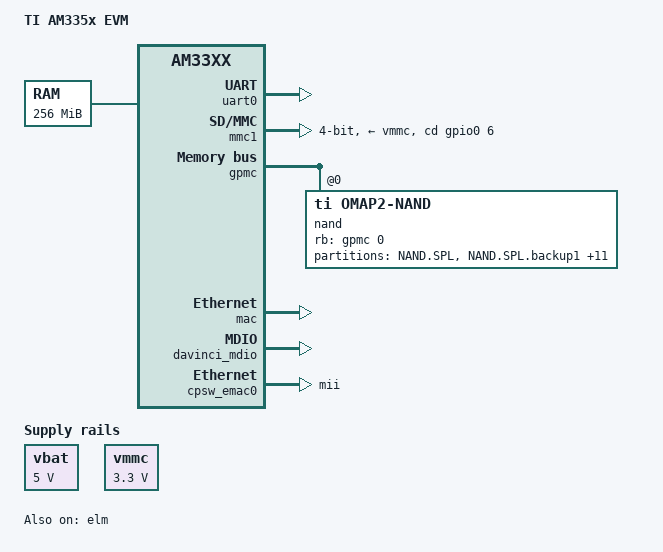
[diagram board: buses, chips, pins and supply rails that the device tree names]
/* cv_kurz.dts */

/*
 * Copyright (C) 2012 Texas Instruments Incorporated - http://www.ti.com/
 *
 * This program is free software; you can redistribute it and/or modify
 * it under the terms of the GNU General Public License version 2 as
 * published by the Free Software Foundation.
 */
/dts-v1/;

#include "am33xx.dtsi"
#include <dt-bindings/interrupt-controller/irq.h>

/ {
	model = "TI AM335x EVM";
	compatible = "cv,kurz", "ti,am33xx";

	cpus {
		cpu@0 {
			cpu0-supply = <&vdd1_reg>;
		};
	};

	memory@80000000 {
		device_type = "memory";
		reg = <0x80000000 0x10000000>; /* 256 MB */
	};

	chosen {
		stdout-path = &uart0;
	};

	vbat: fixedregulator0 {
		compatible = "regulator-fixed";
		regulator-name = "vbat";
		regulator-min-microvolt = <5000000>;
		regulator-max-microvolt = <5000000>;
		regulator-boot-on;
	};

	vmmc: fixedregulator@0 {
		compatible = "regulator-fixed";
		regulator-name = "vmmc";
		regulator-min-microvolt = <3300000>;
		regulator-max-microvolt = <3300000>;
		regulator-always-on;
	};

	vdd1_reg: regulator@0 {
		regulator-compatible = "regulator-fixed";
		regulator-name = "vdd_mpu";
		regulator-min-microvolt = <1250000>;
		regulator-max-microvolt = <1250000>;
		regulator-boot-on;
		regulator-always-on;
	};
};

/* von pin mux tool, erst einmal nur mmc0 (bzw. mmc1 bei anderer zaehlweise ;-)) und uart0: */

&am33xx_pinmux {
	mygpmc1_pins_default: mygpmc1_pins_default {
		pinctrl-single,pins = <
#if 0
			AM33XX_IOPAD(0x86c, PIN_OUTPUT | MUX_MODE0) /* (V17) gpmc_a11.gpmc_a11 */
			AM33XX_IOPAD(0x868, PIN_OUTPUT | MUX_MODE0) /* (T16) gpmc_a10.gpmc_a10 */
			AM33XX_IOPAD(0x864, PIN_OUTPUT | MUX_MODE0) /* (U16) gpmc_a9.gpmc_a9 */
			AM33XX_IOPAD(0x860, PIN_OUTPUT | MUX_MODE0) /* (V16) gpmc_a8.gpmc_a8 */
			AM33XX_IOPAD(0x85c, PIN_OUTPUT | MUX_MODE0) /* (T15) gpmc_a7.gpmc_a7 */
			AM33XX_IOPAD(0x858, PIN_OUTPUT | MUX_MODE0) /* (U15) gpmc_a6.gpmc_a6 */
			AM33XX_IOPAD(0x854, PIN_OUTPUT | MUX_MODE0) /* (V15) gpmc_a5.gpmc_a5 */
			AM33XX_IOPAD(0x850, PIN_OUTPUT | MUX_MODE0) /* (R14) gpmc_a4.gpmc_a4 */
			AM33XX_IOPAD(0x84c, PIN_OUTPUT | MUX_MODE0) /* (T14) gpmc_a3.gpmc_a3 */
			AM33XX_IOPAD(0x848, PIN_OUTPUT | MUX_MODE0) /* (U14) gpmc_a2.gpmc_a2 */
			AM33XX_IOPAD(0x844, PIN_OUTPUT | MUX_MODE0) /* (V14) gpmc_a1.gpmc_a1 */
			AM33XX_IOPAD(0x840, PIN_OUTPUT | MUX_MODE0) /* (R13) gpmc_a0.gpmc_a0 */
			AM33XX_IOPAD(0x83c, PIN_INPUT_PULLUP | MUX_MODE0) /* (U13) gpmc_ad15.gpmc_ad15 */
			AM33XX_IOPAD(0x838, PIN_INPUT_PULLUP | MUX_MODE0) /* (V13) gpmc_ad14.gpmc_ad14 */
			AM33XX_IOPAD(0x834, PIN_INPUT_PULLUP | MUX_MODE0) /* (R12) gpmc_ad13.gpmc_ad13 */
			AM33XX_IOPAD(0x830, PIN_INPUT_PULLUP | MUX_MODE0) /* (T12) gpmc_ad12.gpmc_ad12 */
			AM33XX_IOPAD(0x82c, PIN_INPUT_PULLUP | MUX_MODE0) /* (U12) gpmc_ad11.gpmc_ad11 */
			AM33XX_IOPAD(0x828, PIN_INPUT_PULLUP | MUX_MODE0) /* (T11) gpmc_ad10.gpmc_ad10 */
			AM33XX_IOPAD(0x824, PIN_INPUT_PULLUP | MUX_MODE0) /* (T10) gpmc_ad9.gpmc_ad9 */
			AM33XX_IOPAD(0x820, PIN_INPUT_PULLUP | MUX_MODE0) /* (U10) gpmc_ad8.gpmc_ad8 */
			AM33XX_IOPAD(0x81c, PIN_INPUT_PULLUP | MUX_MODE0) /* (T9) gpmc_ad7.gpmc_ad7 */
			AM33XX_IOPAD(0x818, PIN_INPUT_PULLUP | MUX_MODE0) /* (R9) gpmc_ad6.gpmc_ad6 */
			AM33XX_IOPAD(0x814, PIN_INPUT_PULLUP | MUX_MODE0) /* (V8) gpmc_ad5.gpmc_ad5 */
			AM33XX_IOPAD(0x810, PIN_INPUT_PULLUP | MUX_MODE0) /* (U8) gpmc_ad4.gpmc_ad4 */
			AM33XX_IOPAD(0x80c, PIN_INPUT_PULLUP | MUX_MODE0) /* (T8) gpmc_ad3.gpmc_ad3 */
			AM33XX_IOPAD(0x808, PIN_INPUT_PULLUP | MUX_MODE0) /* (R8) gpmc_ad2.gpmc_ad2 */
			AM33XX_IOPAD(0x804, PIN_INPUT_PULLUP | MUX_MODE0) /* (V7) gpmc_ad1.gpmc_ad1 */
			AM33XX_IOPAD(0x800, PIN_INPUT_PULLUP | MUX_MODE0) /* (U7) gpmc_ad0.gpmc_ad0 */
			AM33XX_IOPAD(0x87c, PIN_OUTPUT_PULLUP | MUX_MODE0) /* (V6) gpmc_csn0.gpmc_csn0 */
			AM33XX_IOPAD(0x880, PIN_OUTPUT_PULLUP | MUX_MODE0) /* (U9) gpmc_csn1.gpmc_csn1 */
			AM33XX_IOPAD(0x888, PIN_OUTPUT_PULLUP | MUX_MODE0) /* (T13) gpmc_csn3.gpmc_csn3 */
			AM33XX_IOPAD(0x88c, PIN_INPUT_PULLUP | MUX_MODE0) /* (V12) gpmc_clk.gpmc_clk */
			AM33XX_IOPAD(0x890, PIN_OUTPUT | MUX_MODE0) /* (R7) gpmc_advn_ale.gpmc_advn_ale */
			AM33XX_IOPAD(0x894, PIN_OUTPUT | MUX_MODE0) /* (T7) gpmc_oen_ren.gpmc_oen_ren */
			AM33XX_IOPAD(0x898, PIN_OUTPUT | MUX_MODE0) /* (U6) gpmc_wen.gpmc_wen */
#else
            0x0 (PIN_INPUT_PULLUP | MUX_MODE0)  /* gpmc_ad0.gpmc_ad0 */
            0x4 (PIN_INPUT_PULLUP | MUX_MODE0)  /* gpmc_ad1.gpmc_ad1 */
            0x8 (PIN_INPUT_PULLUP | MUX_MODE0)  /* gpmc_ad2.gpmc_ad2 */
            0xc (PIN_INPUT_PULLUP | MUX_MODE0)  /* gpmc_ad3.gpmc_ad3 */
            0x10 (PIN_INPUT_PULLUP | MUX_MODE0) /* gpmc_ad4.gpmc_ad4 */
            0x14 (PIN_INPUT_PULLUP | MUX_MODE0) /* gpmc_ad5.gpmc_ad5 */
            0x18 (PIN_INPUT_PULLUP | MUX_MODE0) /* gpmc_ad6.gpmc_ad6 */
            0x1c (PIN_INPUT_PULLUP | MUX_MODE0) /* gpmc_ad7.gpmc_ad7 */

            0x20 (PIN_INPUT_PULLUP | MUX_MODE0) /* Pin 179 - U10 - GPMC_AD8 --- Modes: gpmc_ad8 | lcd_data23 | mmc1_dat0 | mmc2_dat4 | ehrpwm2A | pr1_mii_mt0_clk | - | gpio0_22 */
            0x24 (PIN_INPUT_PULLUP | MUX_MODE0) /* Pin 180 - T10 - GPMC_AD9 --- Modes: gpmc_ad9 | lcd_data22 | mmc1_dat1 | mmc2_dat5 | ehrpwm2B | pr1_mii0_col | - | gpio0_23 */
            0x28 (PIN_INPUT_PULLUP | MUX_MODE0) /* Pin 181 - T11 - GPMC_AD10 --- Modes: gpmc_ad10 | lcd_data21 | mmc1_dat2 | mmc2_dat6 | ehrpwm2_tripzone_input | pr1_mii0_txen | - | gpio0_26 */
            0x2C (PIN_INPUT_PULLUP | MUX_MODE0) /* Pin 182 - U12 - GPMC_AD11 --- Modes: gpmc_ad11 | lcd_data20 | mmc1_dat3 | mmc2_dat7 | ehrpwm0_synco | pr1_mii0_txd3 | - | gpio0_27 */
            0x30 (PIN_INPUT_PULLUP | MUX_MODE0) /* Pin 185 - T12 - GPMC_AD12 --- Modes: gpmc_ad12 | lcd_data19 | mmc1_dat4 | mmc2_dat0 | eQEP2A_in | pr1_mii0_txd2 | pr1_pru0_pru_r30_14 | gpio1_12 */
            0x34 (PIN_INPUT_PULLUP | MUX_MODE0) /* Pin 186 - R12 - GPMC_AD13 --- Modes: gpmc_ad13 | lcd_data18 | mmc1_dat5 | mmc2_dat1 | eQEP2B_in | pr1_mii0_txd1 | pr1_pru0_pru_r30_15 | gpio1_13 */
            0x38 (PIN_INPUT_PULLUP | MUX_MODE0) /* Pin 187 - V13 - GPMC_AD14 --- Modes: gpmc_ad14 | lcd_data17 | mmc1_dat6 | mmc2_dat2 | eQEP2_index | pr1_mii0_txd0 | pr1_pru0_pru_r31_14 | gpio1_14 */
            0x3C (PIN_INPUT_PULLUP | MUX_MODE0) /* Pin 188 - U13 - GPMC_AD15 --- Modes: gpmc_ad15 | lcd_data16 | mmc1_dat7 | mmc2_dat3 | eQEP2_strobe | pr1_ecap0_ecap_capin_apwm_o | pr1_pru0_pru_r31_15 | gpio1_15 */
            0x88 (PIN_OUTPUT | MUX_MODE0) /* Pin 177 - T13 - GPMC_CSn3 --- Modes: gpmc_csn3 | gpmc_a3 | rmii2_crs_dv | mmc2_cmd | pr1_mii0_crs | pr1_mdio_data | EMU4 | gpio2_0 */
            
            0x40 (PIN_OUTPUT | MUX_MODE0) /* Pin 139 - R13 - GPMC_A0 --- Modes: gpmc_a0 | gmii2_txen | rgmii2_tctl | rmii2_txen | gpmc_a16 | pr1_mii_mt1_clk | ehrpwm1_tripzone_input | gpio1_16 */
            0x44 (PIN_OUTPUT | MUX_MODE0) /* Pin 149 - V14 - GPMC_A1 --- Modes: gpmc_a1 | gmii2_rxdv | rgmii2_rctl | mmc2_dat0 | gpmc_a17 | pr1_mii1_txd3 | ehrpwm0_synco | gpio1_17 */
            0x48 (PIN_OUTPUT | MUX_MODE0) /* Pin 140 - U14 - GPMC_A2 --- Modes: gpmc_a2 | gmii2_txd3 | rgmii2_td3 | mmc2_dat1 | gpmc_a18 | pr1_mii1_txd2 | ehrpwm1A | gpio1_18 */
            0x4C (PIN_OUTPUT | MUX_MODE0) /* Pin 143 - T14 - GPMC_A3 --- Modes: gpmc_a3 | gmii2_txd2 | rgmii2_td2 | mmc2_dat2 | gpmc_a19 | pr1_mii1_txd1 | ehrpwm1B | gpio1_19 */
            0x50 (PIN_OUTPUT | MUX_MODE0) /* Pin 144 - R14 - GPMC_A4 --- Modes: gpmc_a4 | gmii2_txd1 | rgmii2_td1 | rmii2_txd1 | gpmc_a20 | pr1_mii1_txd0 | eQEP1A_in | gpio1_20 */
            0x54 (PIN_OUTPUT | MUX_MODE0) /* Pin 145 - V15 - GPMC_A5 --- Modes: gpmc_a5 | gmii2_txd0 | rgmii2_td0 | rmii2_txd0 | gpmc_a21 | pr1_mii1_rxd3 | eQEP1B_in | gpio1_21 */
            0x58 (PIN_OUTPUT | MUX_MODE0) /* Pin 146 - U15 - GPMC_A6 --- Modes: gpmc_a6 | gmii2_txclk | rgmii2_tclk | mmc2_dat4 | gpmc_a22 | pr1_mii1_rxd2 | eQEP1_index | gpio1_22 */
            0x5C (PIN_OUTPUT | MUX_MODE0) /* Pin 154 - T15 - GPMC_A7 --- Modes: gpmc_a7 | gmii2_rxclk | rgmii2_rclk | mmc2_dat5 | gpmc_a23 | pr1_mii1_rxd1 | eQEP1_strobe | gpio1_23 */
            0x60 (PIN_OUTPUT | MUX_MODE0) /* Pin 150 - V16 - GPMC_A8 --- Modes: gpmc_a8 | gmii2_rxd3 | rgmii2_rd3 | mmc2_dat6 | gpmc_a24 | pr1_mii1_rxd0 | mcasp0_aclkx | gpio1_24 */
            0x64 (PIN_OUTPUT | MUX_MODE0) /* Pin 151 - U16 - GPMC_A9 --- Modes: gpmc_a9 | gmii2_rxd2 | rgmii2_rd2 | mmc2_dat7/rmii2_crs_dv | gpmc_a25 | pr1_mii_mr1_clk | mcasp0_fsx | gpio1_25 */
            0x68 (PIN_OUTPUT | MUX_MODE0) /* Pin 152 - T16 - GPMC_A10 --- Modes: gpmc_a10 | gmii2_rxd1 | rgmii2_rd1 | rmii2_rxd1 | gpmc_a26 | pr1_mii1_rxdv | mcasp0_axr0 | gpio1_26 */
            0x6C (PIN_OUTPUT | MUX_MODE0) /* Pin 153 - V17 - GPMC_A11 --- Modes: gpmc_a11 | gmii2_rxd0 | rgmii2_rd0 | rmii2_rxd0 | gpmc_a27 | pr1_mii1_rxer | mcasp0_axr1 | gpio1_27 */
            
            0x90 (PIN_OUTPUT | MUX_MODE0) /* Pin 158 - R7 - GPMC_ADVn_ALE --- Modes: gpmc_advn_ale | - | timer4 | - | - | - | - | gpio2_2 */
            0x94 (PIN_OUTPUT | MUX_MODE0) /* Pin 161 - T7 - GPMC_OEn_REn --- Modes: gpmc_oen_ren | - | timer7 | - | - | - | - | gpio2_3 */
            0x98 (PIN_OUTPUT | MUX_MODE0) /* Pin 162 - U6 - GPMC_WEn --- Modes: gpmc_wen | - | timer6 | - | - | - | - | gpio2_4 */
            
            0x8C (PIN_INPUT_PULLUP | MUX_MODE0) /* Pin 178 - V12 - GPMC_CLK --- Modes: gpmc_clk | lcd_memory_clk | gpmc_wait1 | mmc2_clk | pr1_mii1_crs | pr1_mdio_mdclk | mcasp0_fsr | gpio2_1 */
            
#endif
          >;
	};

	mymmc1_pins_default: mymmc1_pins_default {
		pinctrl-single,pins = <
			AM33XX_IOPAD(0x900, PIN_INPUT_PULLUP | MUX_MODE0) /* (G17) mmc0_clk.mmc0_clk */
			AM33XX_IOPAD(0x904, PIN_INPUT_PULLUP | MUX_MODE0) /* (G18) mmc0_cmd.mmc0_cmd */
			AM33XX_IOPAD(0x8fc, PIN_INPUT_PULLUP | MUX_MODE0) /* (G16) mmc0_dat0.mmc0_dat0 */
			AM33XX_IOPAD(0x8f8, PIN_INPUT_PULLUP | MUX_MODE0) /* (G15) mmc0_dat1.mmc0_dat1 */
			AM33XX_IOPAD(0x8f4, PIN_INPUT_PULLUP | MUX_MODE0) /* (F18) mmc0_dat2.mmc0_dat2 */
			AM33XX_IOPAD(0x8f0, PIN_INPUT_PULLUP | MUX_MODE0) /* (F17) mmc0_dat3.mmc0_dat3 */
		>;
	};

	/* /\* Optional sleep pin settings. Must manually enter values in the below skeleton. *\/ */
	/* mymmc1_pins_sleep: mymmc1_pins_sleep { */
	/* 	pinctrl-single,pins = < */
	/* 		AM33XX_IOPAD(0x900,  ) /\* (G17) mmc0_clk.mmc0_clk *\/ */
	/* 		AM33XX_IOPAD(0x904,  ) /\* (G18) mmc0_cmd.mmc0_cmd *\/ */
	/* 		AM33XX_IOPAD(0x8fc,  ) /\* (G16) mmc0_dat0.mmc0_dat0 *\/ */
	/* 		AM33XX_IOPAD(0x8f8,  ) /\* (G15) mmc0_dat1.mmc0_dat1 *\/ */
	/* 		AM33XX_IOPAD(0x8f4,  ) /\* (F18) mmc0_dat2.mmc0_dat2 *\/ */
	/* 		AM33XX_IOPAD(0x8f0,  ) /\* (F17) mmc0_dat3.mmc0_dat3 *\/ */
	/* 	>; */
	/* }; */

	myuart0_pins_default: myuart0_pins_default {
		pinctrl-single,pins = <
			AM33XX_IOPAD(0x970, PIN_INPUT | MUX_MODE0) /* (E15) uart0_rxd.uart0_rxd */
			AM33XX_IOPAD(0x974, PIN_OUTPUT | MUX_MODE0) /* (E16) uart0_txd.uart0_txd */
			AM33XX_IOPAD(0x968, PIN_INPUT | MUX_MODE0) /* (E18) uart0_ctsn.uart0_ctsn */
			AM33XX_IOPAD(0x96c, PIN_OUTPUT | MUX_MODE0) /* (E17) uart0_rtsn.uart0_rtsn */
		>;
	};

	/* /\* Optional sleep pin settings. Must manually enter values in the below skeleton. *\/ */
	/* myuart0_pins_sleep: myuart0_pins_sleep { */
	/* 	pinctrl-single,pins = < */
	/* 		AM33XX_IOPAD(0x970,  ) /\* (E15) uart0_rxd.uart0_rxd *\/ */
	/* 		AM33XX_IOPAD(0x974,  ) /\* (E16) uart0_txd.uart0_txd *\/ */
	/* 		AM33XX_IOPAD(0x968,  ) /\* (E18) uart0_ctsn.uart0_ctsn *\/ */
	/* 		AM33XX_IOPAD(0x96c,  ) /\* (E17) uart0_rtsn.uart0_rtsn *\/ */
	/* 	>; */
	/* }; */

	cpsw_default: cpsw_default {
		pinctrl-single,pins = <
			/* Slave 1 PHY0 TLK105 */
			0x118 (PIN_INPUT_PULLDOWN | MUX_MODE0) /* Pin 115 - J17 - MII1_RX_DV --- Modes: gmii1_rxdv | lcd_memory_clk | rgmii1_rctl | uart5_txd | mcasp1_aclkx | mmc2_dat0 | mcasp0_aclkr | gpio3_4 */
            0x114 (PIN_OUTPUT_PULLDOWN | MUX_MODE0) /* Pin 109 - J16 - MII1_TX_EN --- Modes: gmii1_txen | rmii1_txen | rgmii1_tctl | timer4 | mcasp1_axr0 | eQEP0_index | mmc2_cmd | gpio3_3 */
            0x110 (PIN_INPUT_PULLDOWN | MUX_MODE0) /* Pin 108 - J15 - MII1_RX_ER --- Modes: gmii1_rxerr | rmii1_rxerr | spi1_d1 | I2C1_SCL | mcasp1_fsx | uart5_rtsn | uart2_txd | gpio3_2 */
			0x11C (PIN_OUTPUT_PULLDOWN | MUX_MODE0) /* Pin 110 - J18 - MII1_TXD3 --- Modes: gmii1_txd3 | dcan0_tx | rgmii1_td3 | uart4_rxd | mcasp1_fsx | mmc2_dat1 | mcasp0_fsr | gpio0_16 */
			0x120 (PIN_OUTPUT_PULLDOWN | MUX_MODE0) /* Pin 111 - K15 - MII1_TXD2 --- Modes: gmii1_txd2 | dcan0_rx | rgmii1_td2 | uart4_txd | mcasp1_axr0 | mmc2_dat2 | mcasp0_ahclkx | gpio0_17 */
			0x124 (PIN_OUTPUT_PULLDOWN | MUX_MODE0) /* Pin 112 - K16 - MII1_TXD1 --- Modes: gmii1_txd1 | rmii1_txd1 | rgmii1_td1 | mcasp1_fsr | mcasp1_axr1 | eQEP0A_in | mmc1_cmd | gpio0_21 */
			0x128 (PIN_OUTPUT_PULLDOWN | MUX_MODE0) /* Pin 113 - K17 - MII1_TXD0 --- Modes: gmii1_txd0 | rmii1_txd0 | rgmii1_td0 | mcasp1_axr2 | mcasp1_aclkr | eQEP0B_in | mmc1_clk | gpio0_28 */
			0x12C (PIN_INPUT_PULLDOWN | MUX_MODE0) /* Pin 114 - K18 - MII1_TX_CLK --- Modes: gmii1_txclk | uart2_rxd | rgmii1_tclk | mmc0_dat7 | mmc1_dat0 | uart1_dcdn | mcasp0_aclkx | gpio3_9 */
			0x130 (PIN_INPUT_PULLDOWN | MUX_MODE0) /* Pin 122 - L18 - MII1_RX_CLK --- Modes: gmii1_rxclk | uart2_txd | rgmii1_rclk | mmc0_dat6 | mmc1_dat1 | uart1_dsrn | mcasp0_fsx | gpio3_10 */
            0x134 (PIN_INPUT_PULLDOWN | MUX_MODE0) /* Pin 116 - L17 - MII1_RXD3 --- Modes: gmii1_rxd3 | uart3_rxd | rgmii1_rd3 | mmc0_dat5 | mmc1_dat2 | uart1_dtrn | mcasp0_axr0 | gpio2_18 */
            0x138 (PIN_INPUT_PULLDOWN | MUX_MODE0) /* Pin 119 - L16 - MII1_RXD2 --- Modes: gmii1_rxd2 | uart3_txd | rgmii1_rd2 | mmc0_dat4 | mmc1_dat3 | uart1_rin | mcasp0_axr1 | gpio2_19 */
            0x13C (PIN_INPUT_PULLDOWN | MUX_MODE0) /* Pin 120 - L15 - MII1_RXD1 --- Modes: gmii1_rxd1 | rmii1_rxd1 | rgmii1_rd1 | mcasp1_axr3 | mcasp1_fsr | eQEP0_strobe | mmc2_clk | gpio2_20 */
			0x140 (PIN_INPUT_PULLDOWN | MUX_MODE0) /* Pin 121 - M16 - MII1_RXD0 --- Modes: gmii1_rxd0 | rmii1_rxd0 | rgmii1_rd0 | mcasp1_ahclkx | mcasp1_ahclkr | mcasp1_aclkr | mcasp0_axr3 | gpio2_21 */
			

#if 0
			/* Slave 2 PHY1 KSZ9031 */
			0x40 (PIN_OUTPUT_PULLDOWN | MUX_MODE2) /* gpmc_a0.rgmii2_tctl */
			0x44 (PIN_INPUT_PULLDOWN | MUX_MODE2)  /* gpmc_a1.rgmii2_rctl */
			0x48 (PIN_OUTPUT_PULLDOWN | MUX_MODE2) /* gpmc_a2.rgmii2_td3 */
			0x4C (PIN_OUTPUT_PULLDOWN | MUX_MODE2) /* gpmc_a3.rgmii2_td2 */
			0x50 (PIN_OUTPUT_PULLDOWN | MUX_MODE2) /* gpmc_a4.rgmii2_td1 */
			0x54 (PIN_OUTPUT_PULLDOWN | MUX_MODE2) /* gpmc_a5.rgmii2_td0 */
			0x58 (PIN_OUTPUT_PULLDOWN | MUX_MODE2) /* gpmc_a6.rgmii2_tclk */
			0x5C (PIN_INPUT_PULLDOWN | MUX_MODE2)  /* gpmc_a7.rgmii2_rclk */
			0x60 (PIN_INPUT_PULLDOWN | MUX_MODE2)  /* gpmc_a8.rgmii2_rd3 */
			0x64 (PIN_INPUT_PULLDOWN | MUX_MODE2)  /* gpmc_a9.rgmii2_rd2 */
			0x68 (PIN_INPUT_PULLDOWN | MUX_MODE2)  /* gpmc_a10.rgmii2_rd1 */
			0x6C (PIN_INPUT_PULLDOWN | MUX_MODE2)  /* gpmc_a11.rgmii2_rd0 */
#endif
		>;
	};
	davinci_mdio_default: davinci_mdio_default {
		pinctrl-single,pins = <
			/* MDIO */
			0x148 (PIN_INPUT_PULLUP | SLEWCTRL_FAST | MUX_MODE0) /* Pin 123 - M17 - MDIO --- Modes: mdio_data | timer6 | uart5_rxd | uart3_ctsn | mmc0_sdcd | mmc1_cmd | mmc2_cmd | gpio0_0 */
            0x14C (PIN_OUTPUT_PULLUP | MUX_MODE0) /* Pin 124 - M18 - MDC --- Modes: mdio_clk | timer5 | uart5_txd | uart3_rtsn | mmc0_sdwp | mmc1_clk | mmc2_clk | gpio0_1 */
		>;
	};

};

&uart0 {
	pinctrl-names = "default";
	pinctrl-0 = <&myuart0_pins_default>;

	status = "okay";
};


&mmc1 {
	status = "okay";
	vmmc-supply = <&vmmc>;
	bus-width = <4>;
	pinctrl-names = "default";
	pinctrl-0 = <&mymmc1_pins_default>;
#if 0
	cd-gpios = <&gpio0 6 GPIO_ACTIVE_LOW>;
#else
	cd-gpios = <&gpio0 6 GPIO_ACTIVE_HIGH>; /* so von kurz */
#endif
};

&elm {
	status = "okay";
};

// siehe: /Documentation/devicetree/bindings/mtd/gpmc-nand.txt
&gpmc {
	status = "okay";
	pinctrl-names = "default";
	pinctrl-0 = <&mygpmc1_pins_default>;
	/* ranges = < */
	/* 0 0 0x08000000 0x20000000 /\* CS0: NAND *\/ */
	/* /\* 1 0 0x17000000 0x1000 /\\* CS1: CF-Card *\\/ *\/ */
	/*   3 0 0x28000000 0x02000000 /\* CS3: FPGA*\/ /\* TODO job-api anpassen auf neue fpga-adressbasis 0x28000000 statt bisher 0x18000000 *\/ */
	/* >; */
#if 0
	ranges = <0 0 0x08000000 0x20000000>; /* CS0: NAND */
#else
	ranges = <0 0 0x08000000 0x1000000>; /* CS0: NAND */
#endif
	
	#address-cells = <2>; 
	#size-cells = <1>; 

	nand@0,0 {
		compatible = "ti,omap2-nand";
		reg = <0 0 4>; /* CS0, offset 0 */
		ti,nand-ecc-opt = "bch8";
		ti,elm-id = <&elm>;
 		rb-gpios = <&gpmc 0 GPIO_ACTIVE_HIGH>; /* gpmc_wait0 */

		nand-bus-width = <8>;
		gpmc,device-width = <1>;
		gpmc,sync-clk-ps = <0>;
		gpmc,cs-on-ns = <0>;
		gpmc,cs-rd-off-ns = <44>;
		gpmc,cs-wr-off-ns = <44>;
		gpmc,adv-on-ns = <6>;
		gpmc,adv-rd-off-ns = <34>;
		gpmc,adv-wr-off-ns = <44>;
		gpmc,we-on-ns = <0>;
		gpmc,we-off-ns = <40>;
		gpmc,oe-on-ns = <0>;
		gpmc,oe-off-ns = <54>;
		gpmc,access-ns = <64>;
		gpmc,rd-cycle-ns = <82>;
		gpmc,wr-cycle-ns = <82>;
		gpmc,wait-on-read = "true";
		gpmc,wait-on-write = "true";
		gpmc,bus-turnaround-ns = <0>;
		gpmc,cycle2cycle-delay-ns = <0>;
		gpmc,clk-activation-ns = <0>;
		gpmc,wait-monitoring-ns = <0>;
		gpmc,wr-access-ns = <40>;
		gpmc,wr-data-mux-bus-ns = <0>;

		// TODO begin neu
		partitions {
			compatible = "fixed-partitions";
		// TODO end neu
		/* MTD partition table */
		/* All SPL-* partitions are sized to minimal length
		* which can be independently programmable. For
		* NAND flash this is equal to size of erase-block */
		#address-cells = <1>;
		#size-cells = <1>;
		partition@0 {
			label = "NAND.SPL";
			reg = <0x00000000 0x00020000>;
		};
		partition@1 {
			label = "NAND.SPL.backup1";
			reg = <0x00020000 0x00020000>;
		};
		partition@2 {
			label = "NAND.SPL.backup2";
			reg = <0x00040000 0x00020000>;
		};
		partition@3 {
			label = "NAND.SPL.backup3";
			reg = <0x00060000 0x00020000>;
		};
		partition@4 {
			label = "NAND.u-boot-spl-os";
			reg = <0x00080000 0x00040000>;
		};
		partition@5 {
			label = "NAND.u-boot";
			reg = <0x000C0000 0x00100000>;
		};
		partition@6 {
			label = "NAND.u-boot-env";
			reg = <0x001C0000 0x00020000>;
		};
		partition@7 {
			label = "NAND.u-boot-env.backup1";
			reg = <0x001E0000 0x00020000>;
		};
		partition@8 {
			label = "NAND.kernel";
			reg = <0x00200000 0x00800000>;
		};
		partition@9 {
			label = "NAND.kparams";
			reg = <0x00a00000 0x00040000>;
		};
		partition@10 {
			label = "NAND.rootfs1";
			reg = <0x00A40000 0x4000000>;
		};
		partition@11 {
			label = "NAND.rootfs2";
			reg = <0x04a40000 0x4000000>;
		};
		partition@12 {
			label = "NAND.data";
			reg = <0x08a40000 0x175C0000>;
		};
		// TODO begin neu
		}; // partitions
		// TODO end neu 
	};
	
	/* /\* nor@1,0 { *\/ */
	/* /\* 	ti,elm-id = <&elm>;   *\/ */
	/* /\* 	reg = <1 0 0x01000>; /\\*CSn1*\\/ *\/ */

		
	/* /\* 	/\\*gpmc,burst-write;*\\/ *\/ */
	/* /\* 	/\\*gpmc,burst-read;*\\/ *\/ */
	/* /\* 	/\\*gpmc,burst-wrap;*\\/ *\/ */
		
	/* /\* 	/\\* CONFIG 1 *\\/ *\/ */
	/* /\* 	bank-width = <2>;           /\\* GPMC_CONFIG1_DEVICESIZE(1), d.h. 16 bit *\\/ *\/ */
        /* /\*         /\\* Fuer Sync muss GPMC PIN PORTMUX auf Input *\\/ *\/ */
	/* /\* 	/\\*gpmc,sync-read;*\\/             /\\* GPMC_CONFIG1_READTYPE_ASYNC *\\/ *\/ */
	/* /\* 	/\\*gpmc,sync-write;*\\/            /\\* GPMC_CONFIG1_WRITETYPE_ASYNC *\\/   *\/ */
	/* /\* 	gpmc,clk-activation-ns = <2>;   /\\* Bestimmt Start Clock Bussignalen (Verschiebung)*\\/ *\/ */
	/* /\* 	gpmc,burst-length = <1>;        /\\* org 16 GPMC_CONFIG1_PAGE_LEN(2) *\\/ *\/ */
	/* /\* 	gpmc,mux-add-data = <0>;        /\\* CONFIG1_n MUXADDDATA = 0 fuer non-multiplexed *\/ */
	/* /\* 	gpmc,sync-clk-ps = <40000>;     /\\* Clk Divider GPMC ClockFrequenz*\\/ *\/ */

	/* /\* 	/\\* CONFIG 2 *\\/       *\/ */
	/* /\* 	gpmc,cs-on-ns = <10>;           /\\*10 ns *\\/ *\/ */
	/* /\* 	gpmc,cs-rd-off-ns = <160>;      /\\*240 180 CS 1 Read  *\\/ *\/ */
	/* /\* 	gpmc,cs-wr-off-ns = <160>;      /\\*240 180 CS 1 Write *\\/ *\/ */
	/* /\* 	/\\* CONFIG3 *\\/ *\/ */
	/* /\* 	gpmc,adv-on-ns = <20>;          /\\*  Adv 0 *\\/ *\/ */
	/* /\* 	gpmc,adv-rd-off-ns = <60>;      /\\*120 80 Adv 1 Read Cycle*\\/ *\/ */
	/* /\* 	gpmc,adv-wr-off-ns = <60>;      /\\*120 80 Adv 1 Write Cycle *\\/         *\/ */
	/* /\* 	/\\* CONFIG4 *\\/ *\/ */
	/* /\* 	gpmc,oe-on-ns = <80>;       /\\*120 90 Read 0 *\\/ *\/ */
	/* /\* 	gpmc,oe-off-ns = <160>;     /\\*220 180 Read 1 *\\/ *\/ */
	/* /\* 	gpmc,we-on-ns = <80>;       /\\*120 90 Write 0 *\/ */
	/* /\* 	gpmc,we-off-ns = <160>;     /\\*220 180 Write 1 *\\/         *\/ */
	/* /\* 	/\\* CONFIG 5 *\\/ *\/ */
	/* /\* 	gpmc,page-burst-access-ns = <6>; /\\*  *\\/ *\/ */
	/* /\* 	gpmc,access-ns = <140>;     /\\*200 150 data capture (read access) *\\/ *\/ */
	/* /\* 	gpmc,rd-cycle-ns = <160>;   /\\*240 180 total read cycle time *\\/ *\/ */
	/* /\* 	gpmc,wr-cycle-ns = <160>;   /\\*240 180 total write cycle time *\\/ *\/ */

	/* /\* 	/\\* CONFIG 6 *\\/ *\/ */
	/* /\* 	gpmc,cycle2cycle-delay-ns = <150>; /\\* 36 CONFIG6:11:8 = 4 *\\/ *\/ */
	/* /\* 	gpmc,wr-data-mux-bus-ns = <80>; /\\*120 80 Time,first data is driven to bus*\\/ *\/ */
	/* /\* 	gpmc,wr-access-ns = <180>;      /\\* 180 80 Burst Mode ? *\\/ *\/ */
		
	/* /\* 	/\\* CONFIG 7 *\\/ *\/ */
	/* /\* 	/\\* gpmc,bus-turnaround-ns = <12>;  *\\/  /\\*  *\\/ *\/ */
	/* /\* 	/\\* gpmc,cycle2cycle-samecsen;      *\\/  /\\* CONFIG6:7 = 1 *\\/ *\/ */
	/* /\* 	/\\* gpmc,cycle2cycle-diffcsen;      *\\/  /\\*  *\\/ *\/ */
		
	/* /\* }; *\/ */

	/* /\*********************************************************************************************** */
	/* *********************************************************************************************** */
	/* **                                                                                           ** */
	/* ** ACHTUNG! Alle Namen beziehen sich auf den Treibersourcecode in:                           ** */
	/* ** /home/buildroot/linux-3.14.43+gitAUTOINC+875c69b2c3-g875c69b/arch/arm/mach-omap2/gpmc.c   ** */
	/* **                                                                                           ** */
	/* *********************************************************************************************** */
	/* ***********************************************************************************************\/ */
	/* nor@3,0 { */
	/* 	ti,elm-id = <&elm>;   */
	/* 	reg = <3 0 0x02000000>; /\*original war: <3 0 0x010000>*\/ /\*CSn3*\/ */

	/* 	gpmc,sync-read;             /\* GPMC_CONFIG1_READTYPE_ASYNC *\/ */
	/* 	gpmc,sync-write;            /\* GPMC_CONFIG1_WRITETYPE_ASYNC *\/   */

	/* 	/\* um das optimum rauszuholen, hier cs, adv, oe und we um halben clock versetzt, da fpga setup/hold times ausreichen *\/ */
	/* 	gpmc,adv-extra-delay; /\* adv on und off 1/2 clock spaeter *\/ */
	/* 	/\* Nein, sonst zu kurze setup zeit fuers fpga, dann kann der erste takt nicht genutzt werden um gleich z.b. einen fifo zu treiben... *\/ */
	/* 	/\*gpmc,cs-extra-delay;*\/ /\* analog *\/ */
	/* 	/\*gpmc,oe-extra-delay;*\/ /\* analog *\/  */
	/* 	/\*gpmc,we-extra-delay;*\/ /\* analog *\/ */
		
		
	/* 	/\* CONFIG 1 *\/ */
	/* 	/\* Unklar ob bank-width zu verwenden wie angegeben in: https://www.kernel.org/doc/Documentation/devicetree/bindings/mtd/gpmc-nor.txt */
	/* 	oder ob device-width wie in: http://lxr.free-electrons.com/source/Documentation/devicetree/bindings/bus/ti-gpmc.txt?v=3.14 *\/ */
	/* 	bank-width = <2>;           /\* GPMC_CONFIG1_DEVICESIZE(1) *\/ */
	/* 	gpmc,device-width = <2>; /\* 16 bit; TODO kontrollieren ob GPMC_CONFIG1_DEVICESIZE 1 wird *\/ */
        /*         /\* Fuer Sync muss GPMC PIN PORTMUX auf Input *\/ */
	/* 	gpmc,clk-activation-ns = <20>;   /\* synchrone Clock (doch nicht?) sofort starten *\/ */
	/* 	/\* weggelassen entsprechend http://lxr.free-electrons.com/source/Documentation/devicetree/bindings/bus/ti-gpmc.txt?v=3.14 *\/ */
	/* 	/\*gpmc,burst-length = <1>;*\/        /\* org 16 GPMC_CONFIG1_PAGE_LEN(2) *\/ */
	/* 	gpmc,mux-add-data = <2>;        /\* 2 fuer address-data multiplexing mode *\/         */
	/* 	gpmc,sync-clk-ps = <10000>;     /\* synchrone Clock fuer fpga alle 1 gpmc f_clocks *\/ */

	/* 	/\* CONFIG 2 *\/ */
	/* 	/\* entspricht CSONTIME *\/        */
	/* 	gpmc,cs-on-ns = <0>;           /\* config 2 *\/ */
	/* 	/\* entspricht CSRDOFFTIME *\/ */
	/* 	gpmc,cs-rd-off-ns = <90>;      /\* config 2 *\/  */
	/* 	/\* CS# de-assertion time from start cycle time for write accesses */
	/* 	/\* entspricht CSWROFFTIME *\/ */
	/* 	gpmc,cs-wr-off-ns = <70>;     /\* config 2 *\/ */
	/* 	/\* CONFIG3 *\/ */
	/* 	gpmc,adv-on-ns = <0>;          /\*  config 3 *\/ */
	/* 	gpmc,adv-rd-off-ns = <30>;     /\*  config 3 *\/ */
	/* 	/\* entspricht ADVWROFFTIME *\/ */
	/* 	gpmc,adv-wr-off-ns = <30>;     /\*  config 3 *\/ */
	/* 	/\* CONFIG4 *\/ */
	/* 	gpmc,oe-on-ns = <30>;       /\* config 4 *\/ */
	/* 	gpmc,oe-off-ns = <80>;      /\* config 4 *\/  */
	/* 	gpmc,we-on-ns = <00>;       /\* config 4 *\/ */
	/* 	gpmc,we-off-ns = <60>;      /\* config 4 *\/ */
	/* 	/\* CONFIG 5 *\/ */
	/* 	/\*gpmc,page-burst-access-ns = <6>;*\/ /\* config 5 - vorerst kein burst *\/ */
	/* 	gpmc,access-ns = <70>;       /\* config 5 *\/ */
	/* 	gpmc,rd-cycle-ns = <100>;    /\* config 5 *\/  */
	/* 	gpmc,wr-cycle-ns = <80>;    /\* config 5 *\/ */

	/* 	/\* CONFIG 6 *\/ */
	/* 	gpmc,cycle2cycle-delay-ns = <50>; /\* jetzt noetig, da cs als asynchrones reset dient *\/ */
	/* 	gpmc,wr-data-mux-bus-ns = <30>;  /\* wechsel von addr zu data da address/data muxing *\/ */
		
		
	/* 	/\* CONFIG 7 *\/ */
	/* 	/\* gpmc,bus-turnaround-ns = <10>; *\/    /\* config 7 *\/ */
	/* 	gpmc,cycle2cycle-samecsen;         /\* config 7 siehe kommentar zu cycle2cycle-delay-ns *\/ */
	/* 	gpmc,cycle2cycle-diffcsen;        /\* config 7 *\/ */
		

	/* }; */
	
};

/* #if 0 /\* von am335x-evm.dts: *\/ */

/* &am33xx_pinmux { */
/* 	pinctrl-names = "default"; */
/* 	pinctrl-0 = <&matrix_keypad_s0 &volume_keys_s0 &clkout2_pin>; */

/* 	matrix_keypad_s0: matrix_keypad_s0 { */
/* 		pinctrl-single,pins = < */
/* 			AM33XX_IOPAD(0x854, PIN_OUTPUT_PULLDOWN | MUX_MODE7)	/\* gpmc_a5.gpio1_21 *\/ */
/* 			AM33XX_IOPAD(0x858, PIN_OUTPUT_PULLDOWN | MUX_MODE7)	/\* gpmc_a6.gpio1_22 *\/ */
/* 			AM33XX_IOPAD(0x864, PIN_INPUT_PULLDOWN | MUX_MODE7)	/\* gpmc_a9.gpio1_25 *\/ */
/* 			AM33XX_IOPAD(0x868, PIN_INPUT_PULLDOWN | MUX_MODE7)	/\* gpmc_a10.gpio1_26 *\/ */
/* 			AM33XX_IOPAD(0x86c, PIN_INPUT_PULLDOWN | MUX_MODE7)	/\* gpmc_a11.gpio1_27 *\/ */
/* 		>; */
/* 	}; */

/* 	volume_keys_s0: volume_keys_s0 { */
/* 		pinctrl-single,pins = < */
/* 			AM33XX_IOPAD(0x950, PIN_INPUT_PULLDOWN | MUX_MODE7)	/\* spi0_sclk.gpio0_2 *\/ */
/* 			AM33XX_IOPAD(0x954, PIN_INPUT_PULLDOWN | MUX_MODE7)	/\* spi0_d0.gpio0_3 *\/ */
/* 		>; */
/* 	}; */

/* 	i2c0_pins: pinmux_i2c0_pins { */
/* 		pinctrl-single,pins = < */
/* 			AM33XX_IOPAD(0x988, PIN_INPUT_PULLUP | MUX_MODE0)	/\* i2c0_sda.i2c0_sda *\/ */
/* 			AM33XX_IOPAD(0x98c, PIN_INPUT_PULLUP | MUX_MODE0)	/\* i2c0_scl.i2c0_scl *\/ */
/* 		>; */
/* 	}; */

/* 	i2c1_pins: pinmux_i2c1_pins { */
/* 		pinctrl-single,pins = < */
/* 			AM33XX_IOPAD(0x958, PIN_INPUT_PULLUP | MUX_MODE2)	/\* spi0_d1.i2c1_sda *\/ */
/* 			AM33XX_IOPAD(0x95c, PIN_INPUT_PULLUP | MUX_MODE2)	/\* spi0_cs0.i2c1_scl *\/ */
/* 		>; */
/* 	}; */

/* 	uart0_pins: pinmux_uart0_pins { */
/* 		pinctrl-single,pins = < */
/* 			AM33XX_IOPAD(0x970, PIN_INPUT_PULLUP | MUX_MODE0)	/\* uart0_rxd.uart0_rxd *\/ */
/* 			AM33XX_IOPAD(0x974, PIN_OUTPUT_PULLDOWN | MUX_MODE0)	/\* uart0_txd.uart0_txd *\/ */
/* 		>; */
/* 	}; */

/* 	uart1_pins: pinmux_uart1_pins { */
/* 		pinctrl-single,pins = < */
/* 			AM33XX_IOPAD(0x978, PIN_INPUT | MUX_MODE0)		/\* uart1_ctsn.uart1_ctsn *\/ */
/* 			AM33XX_IOPAD(0x97C, PIN_OUTPUT_PULLDOWN | MUX_MODE0)	/\* uart1_rtsn.uart1_rtsn *\/ */
/* 			AM33XX_IOPAD(0x980, PIN_INPUT_PULLUP | MUX_MODE0)	/\* uart1_rxd.uart1_rxd *\/ */
/* 			AM33XX_IOPAD(0x984, PIN_OUTPUT_PULLDOWN | MUX_MODE0)	/\* uart1_txd.uart1_txd *\/ */
/* 		>; */
/* 	}; */

/* 	clkout2_pin: pinmux_clkout2_pin { */
/* 		pinctrl-single,pins = < */
/* 			AM33XX_IOPAD(0x9b4, PIN_OUTPUT_PULLDOWN | MUX_MODE3)	/\* xdma_event_intr1.clkout2 *\/ */
/* 		>; */
/* 	}; */

/* 	nandflash_pins_s0: nandflash_pins_s0 { */
/* 		pinctrl-single,pins = < */
/* 			AM33XX_IOPAD(0x800, PIN_INPUT_PULLUP | MUX_MODE0)	/\* gpmc_ad0.gpmc_ad0 *\/ */
/* 			AM33XX_IOPAD(0x804, PIN_INPUT_PULLUP | MUX_MODE0)	/\* gpmc_ad1.gpmc_ad1 *\/ */
/* 			AM33XX_IOPAD(0x808, PIN_INPUT_PULLUP | MUX_MODE0)	/\* gpmc_ad2.gpmc_ad2 *\/ */
/* 			AM33XX_IOPAD(0x80c, PIN_INPUT_PULLUP | MUX_MODE0)	/\* gpmc_ad3.gpmc_ad3 *\/ */
/* 			AM33XX_IOPAD(0x810, PIN_INPUT_PULLUP | MUX_MODE0)	/\* gpmc_ad4.gpmc_ad4 *\/ */
/* 			AM33XX_IOPAD(0x814, PIN_INPUT_PULLUP | MUX_MODE0)	/\* gpmc_ad5.gpmc_ad5 *\/ */
/* 			AM33XX_IOPAD(0x818, PIN_INPUT_PULLUP | MUX_MODE0)	/\* gpmc_ad6.gpmc_ad6 *\/ */
/* 			AM33XX_IOPAD(0x81c, PIN_INPUT_PULLUP | MUX_MODE0)	/\* gpmc_ad7.gpmc_ad7 *\/ */
/* 			AM33XX_IOPAD(0x870, PIN_INPUT_PULLUP | MUX_MODE0)	/\* gpmc_wait0.gpmc_wait0 *\/ */
/* 			AM33XX_IOPAD(0x874, PIN_INPUT_PULLUP | MUX_MODE7)	/\* gpmc_wpn.gpio0_30 *\/ */
/* 			AM33XX_IOPAD(0x87c, PIN_OUTPUT | MUX_MODE0)		/\* gpmc_csn0.gpmc_csn0  *\/ */
/* 			AM33XX_IOPAD(0x890, PIN_OUTPUT | MUX_MODE0)		/\* gpmc_advn_ale.gpmc_advn_ale *\/ */
/* 			AM33XX_IOPAD(0x894, PIN_OUTPUT | MUX_MODE0)		/\* gpmc_oen_ren.gpmc_oen_ren *\/ */
/* 			AM33XX_IOPAD(0x898, PIN_OUTPUT | MUX_MODE0)		/\* gpmc_wen.gpmc_wen *\/ */
/* 			AM33XX_IOPAD(0x89c, PIN_OUTPUT | MUX_MODE0)		/\* gpmc_be0n_cle.gpmc_be0n_cle *\/ */
/* 		>; */
/* 	}; */

/* 	ecap0_pins: backlight_pins { */
/* 		pinctrl-single,pins = < */
/* 			AM33XX_IOPAD(0x964, MUX_MODE0)	/\* eCAP0_in_PWM0_out.eCAP0_in_PWM0_out *\/ */
/* 		>; */
/* 	}; */

/* 	cpsw_default: cpsw_default { */
/* 		pinctrl-single,pins = < */
/* 			/\* Slave 1 *\/ */
/* 			AM33XX_IOPAD(0x914, PIN_OUTPUT_PULLDOWN | MUX_MODE2)	/\* mii1_txen.rgmii1_tctl *\/ */
/* 			AM33XX_IOPAD(0x918, PIN_INPUT_PULLDOWN | MUX_MODE2)	/\* mii1_rxdv.rgmii1_rctl *\/ */
/* 			AM33XX_IOPAD(0x91c, PIN_OUTPUT_PULLDOWN | MUX_MODE2)	/\* mii1_txd3.rgmii1_td3 *\/ */
/* 			AM33XX_IOPAD(0x920, PIN_OUTPUT_PULLDOWN | MUX_MODE2)	/\* mii1_txd2.rgmii1_td2 *\/ */
/* 			AM33XX_IOPAD(0x924, PIN_OUTPUT_PULLDOWN | MUX_MODE2)	/\* mii1_txd1.rgmii1_td1 *\/ */
/* 			AM33XX_IOPAD(0x928, PIN_OUTPUT_PULLDOWN | MUX_MODE2)	/\* mii1_txd0.rgmii1_td0 *\/ */
/* 			AM33XX_IOPAD(0x92c, PIN_OUTPUT_PULLDOWN | MUX_MODE2)	/\* mii1_txclk.rgmii1_tclk *\/ */
/* 			AM33XX_IOPAD(0x930, PIN_INPUT_PULLDOWN | MUX_MODE2)	/\* mii1_rxclk.rgmii1_rclk *\/ */
/* 			AM33XX_IOPAD(0x934, PIN_INPUT_PULLDOWN | MUX_MODE2)	/\* mii1_rxd3.rgmii1_rd3 *\/ */
/* 			AM33XX_IOPAD(0x938, PIN_INPUT_PULLDOWN | MUX_MODE2)	/\* mii1_rxd2.rgmii1_rd2 *\/ */
/* 			AM33XX_IOPAD(0x93c, PIN_INPUT_PULLDOWN | MUX_MODE2)	/\* mii1_rxd1.rgmii1_rd1 *\/ */
/* 			AM33XX_IOPAD(0x940, PIN_INPUT_PULLDOWN | MUX_MODE2)	/\* mii1_rxd0.rgmii1_rd0 *\/ */
/* 		>; */
/* 	}; */

/* 	cpsw_sleep: cpsw_sleep { */
/* 		pinctrl-single,pins = < */
/* 			/\* Slave 1 reset value *\/ */
/* 			AM33XX_IOPAD(0x914, PIN_INPUT_PULLDOWN | MUX_MODE7) */
/* 			AM33XX_IOPAD(0x918, PIN_INPUT_PULLDOWN | MUX_MODE7) */
/* 			AM33XX_IOPAD(0x91c, PIN_INPUT_PULLDOWN | MUX_MODE7) */
/* 			AM33XX_IOPAD(0x920, PIN_INPUT_PULLDOWN | MUX_MODE7) */
/* 			AM33XX_IOPAD(0x924, PIN_INPUT_PULLDOWN | MUX_MODE7) */
/* 			AM33XX_IOPAD(0x928, PIN_INPUT_PULLDOWN | MUX_MODE7) */
/* 			AM33XX_IOPAD(0x92c, PIN_INPUT_PULLDOWN | MUX_MODE7) */
/* 			AM33XX_IOPAD(0x930, PIN_INPUT_PULLDOWN | MUX_MODE7) */
/* 			AM33XX_IOPAD(0x934, PIN_INPUT_PULLDOWN | MUX_MODE7) */
/* 			AM33XX_IOPAD(0x938, PIN_INPUT_PULLDOWN | MUX_MODE7) */
/* 			AM33XX_IOPAD(0x93c, PIN_INPUT_PULLDOWN | MUX_MODE7) */
/* 			AM33XX_IOPAD(0x940, PIN_INPUT_PULLDOWN | MUX_MODE7) */
/* 		>; */
/* 	}; */

/* 	davinci_mdio_default: davinci_mdio_default { */
/* 		pinctrl-single,pins = < */
/* 			/\* MDIO *\/ */
/* 			AM33XX_IOPAD(0x948, PIN_INPUT_PULLUP | SLEWCTRL_FAST | MUX_MODE0)	/\* mdio_data.mdio_data *\/ */
/* 			AM33XX_IOPAD(0x94c, PIN_OUTPUT_PULLUP | MUX_MODE0)			/\* mdio_clk.mdio_clk *\/ */
/* 		>; */
/* 	}; */

/* 	davinci_mdio_sleep: davinci_mdio_sleep { */
/* 		pinctrl-single,pins = < */
/* 			/\* MDIO reset value *\/ */
/* 			AM33XX_IOPAD(0x948, PIN_INPUT_PULLDOWN | MUX_MODE7) */
/* 			AM33XX_IOPAD(0x94c, PIN_INPUT_PULLDOWN | MUX_MODE7) */
/* 		>; */
/* 	}; */

/* 	mmc1_pins: pinmux_mmc1_pins { */
/* 		pinctrl-single,pins = < */
/* 			AM33XX_IOPAD(0x960, PIN_INPUT | MUX_MODE7)		/\* spi0_cs1.gpio0_6 *\/ */
/* 			AM33XX_IOPAD(0x8fc, PIN_INPUT_PULLUP | MUX_MODE0)	/\* mmc0_dat0.mmc0_dat0 *\/ */
/* 			AM33XX_IOPAD(0x8f8, PIN_INPUT_PULLUP | MUX_MODE0)	/\* mmc0_dat1.mmc0_dat1 *\/ */
/* 			AM33XX_IOPAD(0x8f4, PIN_INPUT_PULLUP | MUX_MODE0)	/\* mmc0_dat2.mmc0_dat2 *\/ */
/* 			AM33XX_IOPAD(0x8f0, PIN_INPUT_PULLUP | MUX_MODE0)	/\* mmc0_dat3.mmc0_dat3 *\/ */
/* 			AM33XX_IOPAD(0x904, PIN_INPUT_PULLUP | MUX_MODE0)	/\* mmc0_cmd.mmc0_cmd *\/ */
/* 			AM33XX_IOPAD(0x900, PIN_INPUT_PULLUP | MUX_MODE0)	/\* mmc0_clk.mmc0_clk *\/ */
/* 			AM33XX_IOPAD(0x9a0, PIN_INPUT | MUX_MODE4)		/\* mcasp0_aclkr.mmc0_sdwp *\/ */
/* 		>; */
/* 	}; */

/* 	mmc3_pins: pinmux_mmc3_pins { */
/* 		pinctrl-single,pins = < */
/* 			AM33XX_IOPAD(0x844, PIN_INPUT_PULLUP | MUX_MODE3)	/\* gpmc_a1.mmc2_dat0, INPUT_PULLUP | MODE3 *\/ */
/* 			AM33XX_IOPAD(0x848, PIN_INPUT_PULLUP | MUX_MODE3)	/\* gpmc_a2.mmc2_dat1, INPUT_PULLUP | MODE3 *\/ */
/* 			AM33XX_IOPAD(0x84c, PIN_INPUT_PULLUP | MUX_MODE3)	/\* gpmc_a3.mmc2_dat2, INPUT_PULLUP | MODE3 *\/ */
/* 			AM33XX_IOPAD(0x878, PIN_INPUT_PULLUP | MUX_MODE3)	/\* gpmc_ben1.mmc2_dat3, INPUT_PULLUP | MODE3 *\/ */
/* 			AM33XX_IOPAD(0x888, PIN_INPUT_PULLUP | MUX_MODE3)	/\* gpmc_csn3.mmc2_cmd, INPUT_PULLUP | MODE3 *\/ */
/* 			AM33XX_IOPAD(0x88c, PIN_INPUT_PULLUP | MUX_MODE3)	/\* gpmc_clk.mmc2_clk, INPUT_PULLUP | MODE3 *\/ */
/* 		>; */
/* 	}; */

/* 	wlan_pins: pinmux_wlan_pins { */
/* 		pinctrl-single,pins = < */
/* 			AM33XX_IOPAD(0x840, PIN_OUTPUT_PULLDOWN | MUX_MODE7)	/\* gpmc_a0.gpio1_16 *\/ */
/* 			AM33XX_IOPAD(0x99c, PIN_INPUT | MUX_MODE7)		/\* mcasp0_ahclkr.gpio3_17 *\/ */
/* 			AM33XX_IOPAD(0x9ac, PIN_OUTPUT_PULLDOWN | MUX_MODE7)	/\* mcasp0_ahclkx.gpio3_21 *\/ */
/* 		>; */
/* 	}; */

/* 	lcd_pins_s0: lcd_pins_s0 { */
/* 		pinctrl-single,pins = < */
/* 			AM33XX_IOPAD(0x820, PIN_OUTPUT | MUX_MODE1)		/\* gpmc_ad8.lcd_data23 *\/ */
/* 			AM33XX_IOPAD(0x824, PIN_OUTPUT | MUX_MODE1)		/\* gpmc_ad9.lcd_data22 *\/ */
/* 			AM33XX_IOPAD(0x828, PIN_OUTPUT | MUX_MODE1)		/\* gpmc_ad10.lcd_data21 *\/ */
/* 			AM33XX_IOPAD(0x82c, PIN_OUTPUT | MUX_MODE1)		/\* gpmc_ad11.lcd_data20 *\/ */
/* 			AM33XX_IOPAD(0x830, PIN_OUTPUT | MUX_MODE1)		/\* gpmc_ad12.lcd_data19 *\/ */
/* 			AM33XX_IOPAD(0x834, PIN_OUTPUT | MUX_MODE1)		/\* gpmc_ad13.lcd_data18 *\/ */
/* 			AM33XX_IOPAD(0x838, PIN_OUTPUT | MUX_MODE1)		/\* gpmc_ad14.lcd_data17 *\/ */
/* 			AM33XX_IOPAD(0x83c, PIN_OUTPUT | MUX_MODE1)		/\* gpmc_ad15.lcd_data16 *\/ */
/* 			AM33XX_IOPAD(0x8a0, PIN_OUTPUT | MUX_MODE0)		/\* lcd_data0.lcd_data0 *\/ */
/* 			AM33XX_IOPAD(0x8a4, PIN_OUTPUT | MUX_MODE0)		/\* lcd_data1.lcd_data1 *\/ */
/* 			AM33XX_IOPAD(0x8a8, PIN_OUTPUT | MUX_MODE0)		/\* lcd_data2.lcd_data2 *\/ */
/* 			AM33XX_IOPAD(0x8ac, PIN_OUTPUT | MUX_MODE0)		/\* lcd_data3.lcd_data3 *\/ */
/* 			AM33XX_IOPAD(0x8b0, PIN_OUTPUT | MUX_MODE0)		/\* lcd_data4.lcd_data4 *\/ */
/* 			AM33XX_IOPAD(0x8b4, PIN_OUTPUT | MUX_MODE0)		/\* lcd_data5.lcd_data5 *\/ */
/* 			AM33XX_IOPAD(0x8b8, PIN_OUTPUT | MUX_MODE0)		/\* lcd_data6.lcd_data6 *\/ */
/* 			AM33XX_IOPAD(0x8bc, PIN_OUTPUT | MUX_MODE0)		/\* lcd_data7.lcd_data7 *\/ */
/* 			AM33XX_IOPAD(0x8c0, PIN_OUTPUT | MUX_MODE0)		/\* lcd_data8.lcd_data8 *\/ */
/* 			AM33XX_IOPAD(0x8c4, PIN_OUTPUT | MUX_MODE0)		/\* lcd_data9.lcd_data9 *\/ */
/* 			AM33XX_IOPAD(0x8c8, PIN_OUTPUT | MUX_MODE0)		/\* lcd_data10.lcd_data10 *\/ */
/* 			AM33XX_IOPAD(0x8cc, PIN_OUTPUT | MUX_MODE0)		/\* lcd_data11.lcd_data11 *\/ */
/* 			AM33XX_IOPAD(0x8d0, PIN_OUTPUT | MUX_MODE0)		/\* lcd_data12.lcd_data12 *\/ */
/* 			AM33XX_IOPAD(0x8d4, PIN_OUTPUT | MUX_MODE0)		/\* lcd_data13.lcd_data13 *\/ */
/* 			AM33XX_IOPAD(0x8d8, PIN_OUTPUT | MUX_MODE0)		/\* lcd_data14.lcd_data14 *\/ */
/* 			AM33XX_IOPAD(0x8dc, PIN_OUTPUT | MUX_MODE0)		/\* lcd_data15.lcd_data15 *\/ */
/* 			AM33XX_IOPAD(0x8e0, PIN_OUTPUT | MUX_MODE0)		/\* lcd_vsync.lcd_vsync *\/ */
/* 			AM33XX_IOPAD(0x8e4, PIN_OUTPUT | MUX_MODE0)		/\* lcd_hsync.lcd_hsync *\/ */
/* 			AM33XX_IOPAD(0x8e8, PIN_OUTPUT | MUX_MODE0)		/\* lcd_pclk.lcd_pclk *\/ */
/* 			AM33XX_IOPAD(0x8ec, PIN_OUTPUT | MUX_MODE0)		/\* lcd_ac_bias_en.lcd_ac_bias_en *\/ */
/* 		>; */
/* 	}; */

/* 	mcasp1_pins: mcasp1_pins { */
/* 		pinctrl-single,pins = < */
/* 			AM33XX_IOPAD(0x90c, PIN_INPUT_PULLDOWN | MUX_MODE4) /\* mii1_crs.mcasp1_aclkx *\/ */
/* 			AM33XX_IOPAD(0x910, PIN_INPUT_PULLDOWN | MUX_MODE4) /\* mii1_rxerr.mcasp1_fsx *\/ */
/* 			AM33XX_IOPAD(0x908, PIN_OUTPUT_PULLDOWN | MUX_MODE4) /\* mii1_col.mcasp1_axr2 *\/ */
/* 			AM33XX_IOPAD(0x944, PIN_INPUT_PULLDOWN | MUX_MODE4) /\* rmii1_ref_clk.mcasp1_axr3 *\/ */
/* 		>; */
/* 	}; */

/* 	mcasp1_pins_sleep: mcasp1_pins_sleep { */
/* 		pinctrl-single,pins = < */
/* 			AM33XX_IOPAD(0x90c, PIN_INPUT_PULLDOWN | MUX_MODE7) */
/* 			AM33XX_IOPAD(0x910, PIN_INPUT_PULLDOWN | MUX_MODE7) */
/* 			AM33XX_IOPAD(0x908, PIN_INPUT_PULLDOWN | MUX_MODE7) */
/* 			AM33XX_IOPAD(0x944, PIN_INPUT_PULLDOWN | MUX_MODE7) */
/* 		>; */
/* 	}; */

/* 	dcan1_pins_default: dcan1_pins_default { */
/* 		pinctrl-single,pins = < */
/* 			AM33XX_IOPAD(0x968, PIN_OUTPUT | MUX_MODE2) /\* uart0_ctsn.d_can1_tx *\/ */
/* 			AM33XX_IOPAD(0x96c, PIN_INPUT_PULLDOWN | MUX_MODE2) /\* uart0_rtsn.d_can1_rx *\/ */
/* 		>; */
/* 	}; */
/* }; */
/* #endif */
/* #if 0 */

/* &uart1 { */
/* 	pinctrl-names = "default"; */
/* 	pinctrl-0 = <&uart1_pins>; */

/* 	status = "okay"; */
/* }; */

/* &i2c0 { */
/* 	pinctrl-names = "default"; */
/* 	pinctrl-0 = <&i2c0_pins>; */

/* 	status = "okay"; */
/* 	clock-frequency = <400000>; */

/* 	tps: tps@2d { */
/* 		reg = <0x2d>; */
/* 	}; */
/* }; */

/* &usb { */
/* 	status = "okay"; */
/* }; */

/* &usb_ctrl_mod { */
/* 	status = "okay"; */
/* }; */

/* &usb0_phy { */
/* 	status = "okay"; */
/* }; */

/* &usb1_phy { */
/* 	status = "okay"; */
/* }; */

/* &usb0 { */
/* 	status = "okay"; */
/* }; */

/* &usb1 { */
/* 	status = "okay"; */
/* 	dr_mode = "host"; */
/* }; */

/* &cppi41dma  { */
/* 	status = "okay"; */
/* }; */

/* &i2c1 { */
/* 	pinctrl-names = "default"; */
/* 	pinctrl-0 = <&i2c1_pins>; */

/* 	status = "okay"; */
/* 	clock-frequency = <100000>; */

/* 	lis331dlh: lis331dlh@18 { */
/* 		compatible = "st,lis331dlh", "st,lis3lv02d"; */
/* 		reg = <0x18>; */
/* 		Vdd-supply = <&lis3_reg>; */
/* 		Vdd_IO-supply = <&lis3_reg>; */

/* 		st,click-single-x; */
/* 		st,click-single-y; */
/* 		st,click-single-z; */
/* 		st,click-thresh-x = <10>; */
/* 		st,click-thresh-y = <10>; */
/* 		st,click-thresh-z = <10>; */
/* 		st,irq1-click; */
/* 		st,irq2-click; */
/* 		st,wakeup-x-lo; */
/* 		st,wakeup-x-hi; */
/* 		st,wakeup-y-lo; */
/* 		st,wakeup-y-hi; */
/* 		st,wakeup-z-lo; */
/* 		st,wakeup-z-hi; */
/* 		st,min-limit-x = <120>; */
/* 		st,min-limit-y = <120>; */
/* 		st,min-limit-z = <140>; */
/* 		st,max-limit-x = <550>; */
/* 		st,max-limit-y = <550>; */
/* 		st,max-limit-z = <750>; */
/* 	}; */

/* 	tsl2550: tsl2550@39 { */
/* 		compatible = "taos,tsl2550"; */
/* 		reg = <0x39>; */
/* 	}; */

/* 	tmp275: tmp275@48 { */
/* 		compatible = "ti,tmp275"; */
/* 		reg = <0x48>; */
/* 	}; */

/* 	tlv320aic3106: tlv320aic3106@1b { */
/* 		#sound-dai-cells = <0>; */
/* 		compatible = "ti,tlv320aic3106"; */
/* 		reg = <0x1b>; */
/* 		status = "okay"; */

/* 		/\* Regulators *\/ */
/* 		AVDD-supply = <&v3_3d_reg>; */
/* 		IOVDD-supply = <&v3_3d_reg>; */
/* 		DRVDD-supply = <&v3_3d_reg>; */
/* 		DVDD-supply = <&v1_8d_reg>; */
/* 	}; */
/* }; */

/* &lcdc { */
/* 	status = "okay"; */

/* 	blue-and-red-wiring = "crossed"; */
/* }; */

/* &elm { */
/* 	status = "okay"; */
/* }; */

/* &epwmss0 { */
/* 	status = "okay"; */

/* 	ecap0: ecap@48300100 { */
/* 		status = "okay"; */
/* 		pinctrl-names = "default"; */
/* 		pinctrl-0 = <&ecap0_pins>; */
/* 	}; */
/* }; */

/* &gpmc { */
/* 	status = "okay"; */
/* 	pinctrl-names = "default"; */
/* 	pinctrl-0 = <&nandflash_pins_s0>; */
/* 	ranges = <0 0 0x08000000 0x1000000>;	/\* CS0: 16MB for NAND *\/ */
/* 	nand@0,0 { */
/* 		compatible = "ti,omap2-nand"; */
/* 		reg = <0 0 4>; /\* CS0, offset 0, IO size 4 *\/ */
/* 		interrupt-parent = <&gpmc>; */
/* 		interrupts = <0 IRQ_TYPE_NONE>, /\* fifoevent *\/ */
/* 			     <1 IRQ_TYPE_NONE>;	/\* termcount *\/ */
/* 		rb-gpios = <&gpmc 0 GPIO_ACTIVE_HIGH>; /\* gpmc_wait0 *\/ */
/* 		ti,nand-xfer-type = "prefetch-dma"; */
/* 		ti,nand-ecc-opt = "bch8"; */
/* 		ti,elm-id = <&elm>; */
/* 		nand-bus-width = <8>; */
/* 		gpmc,device-width = <1>; */
/* 		gpmc,sync-clk-ps = <0>; */
/* 		gpmc,cs-on-ns = <0>; */
/* 		gpmc,cs-rd-off-ns = <44>; */
/* 		gpmc,cs-wr-off-ns = <44>; */
/* 		gpmc,adv-on-ns = <6>; */
/* 		gpmc,adv-rd-off-ns = <34>; */
/* 		gpmc,adv-wr-off-ns = <44>; */
/* 		gpmc,we-on-ns = <0>; */
/* 		gpmc,we-off-ns = <40>; */
/* 		gpmc,oe-on-ns = <0>; */
/* 		gpmc,oe-off-ns = <54>; */
/* 		gpmc,access-ns = <64>; */
/* 		gpmc,rd-cycle-ns = <82>; */
/* 		gpmc,wr-cycle-ns = <82>; */
/* 		gpmc,bus-turnaround-ns = <0>; */
/* 		gpmc,cycle2cycle-delay-ns = <0>; */
/* 		gpmc,clk-activation-ns = <0>; */
/* 		gpmc,wr-access-ns = <40>; */
/* 		gpmc,wr-data-mux-bus-ns = <0>; */
/* 		/\* MTD partition table *\/ */
/* 		/\* All SPL-* partitions are sized to minimal length */
/* 		 * which can be independently programmable. For */
/* 		 * NAND flash this is equal to size of erase-block *\/ */
/* 		#address-cells = <1>; */
/* 		#size-cells = <1>; */
/* 		partition@0 { */
/* 			label = "NAND.SPL"; */
/* 			reg = <0x00000000 0x000020000>; */
/* 		}; */
/* 		partition@1 { */
/* 			label = "NAND.SPL.backup1"; */
/* 			reg = <0x00020000 0x00020000>; */
/* 		}; */
/* 		partition@2 { */
/* 			label = "NAND.SPL.backup2"; */
/* 			reg = <0x00040000 0x00020000>; */
/* 		}; */
/* 		partition@3 { */
/* 			label = "NAND.SPL.backup3"; */
/* 			reg = <0x00060000 0x00020000>; */
/* 		}; */
/* 		partition@4 { */
/* 			label = "NAND.u-boot-spl-os"; */
/* 			reg = <0x00080000 0x00040000>; */
/* 		}; */
/* 		partition@5 { */
/* 			label = "NAND.u-boot"; */
/* 			reg = <0x000C0000 0x00100000>; */
/* 		}; */
/* 		partition@6 { */
/* 			label = "NAND.u-boot-env"; */
/* 			reg = <0x001C0000 0x00020000>; */
/* 		}; */
/* 		partition@7 { */
/* 			label = "NAND.u-boot-env.backup1"; */
/* 			reg = <0x001E0000 0x00020000>; */
/* 		}; */
/* 		partition@8 { */
/* 			label = "NAND.kernel"; */
/* 			reg = <0x00200000 0x00800000>; */
/* 		}; */
/* 		partition@9 { */
/* 			label = "NAND.file-system"; */
/* 			reg = <0x00A00000 0x0F600000>; */
/* 		}; */
/* 	}; */
/* }; */

/* #include "tps65910.dtsi" */

/* &mcasp1 { */
/* 	#sound-dai-cells = <0>; */
/* 	pinctrl-names = "default", "sleep"; */
/* 	pinctrl-0 = <&mcasp1_pins>; */
/* 	pinctrl-1 = <&mcasp1_pins_sleep>; */

/* 	status = "okay"; */

/* 	op-mode = <0>;          /\* MCASP_IIS_MODE *\/ */
/* 	tdm-slots = <2>; */
/* 	/\* 4 serializers *\/ */
/* 	serial-dir = <  /\* 0: INACTIVE, 1: TX, 2: RX *\/ */
/* 		0 0 1 2 */
/* 	>; */
/* 	tx-num-evt = <32>; */
/* 	rx-num-evt = <32>; */
/* }; */

/* &tps { */
/* 	vcc1-supply = <&vbat>; */
/* 	vcc2-supply = <&vbat>; */
/* 	vcc3-supply = <&vbat>; */
/* 	vcc4-supply = <&vbat>; */
/* 	vcc5-supply = <&vbat>; */
/* 	vcc6-supply = <&vbat>; */
/* 	vcc7-supply = <&vbat>; */
/* 	vccio-supply = <&vbat>; */

/* 	regulators { */
/* 		vrtc_reg: regulator@0 { */
/* 			regulator-always-on; */
/* 		}; */

/* 		vio_reg: regulator@1 { */
/* 			regulator-always-on; */
/* 		}; */

/* 		vdd1_reg: regulator@2 { */
/* 			/\* VDD_MPU voltage limits 0.95V - 1.26V with +/-4% tolerance *\/ */
/* 			regulator-name = "vdd_mpu"; */
/* 			regulator-min-microvolt = <912500>; */
/* 			regulator-max-microvolt = <1351500>; */
/* 			regulator-boot-on; */
/* 			regulator-always-on; */
/* 		}; */

/* 		vdd2_reg: regulator@3 { */
/* 			/\* VDD_CORE voltage limits 0.95V - 1.1V with +/-4% tolerance *\/ */
/* 			regulator-name = "vdd_core"; */
/* 			regulator-min-microvolt = <912500>; */
/* 			regulator-max-microvolt = <1150000>; */
/* 			regulator-boot-on; */
/* 			regulator-always-on; */
/* 		}; */

/* 		vdd3_reg: regulator@4 { */
/* 			regulator-always-on; */
/* 		}; */

/* 		vdig1_reg: regulator@5 { */
/* 			regulator-always-on; */
/* 		}; */

/* 		vdig2_reg: regulator@6 { */
/* 			regulator-always-on; */
/* 		}; */

/* 		vpll_reg: regulator@7 { */
/* 			regulator-always-on; */
/* 		}; */

/* 		vdac_reg: regulator@8 { */
/* 			regulator-always-on; */
/* 		}; */

/* 		vaux1_reg: regulator@9 { */
/* 			regulator-always-on; */
/* 		}; */

/* 		vaux2_reg: regulator@10 { */
/* 			regulator-always-on; */
/* 		}; */

/* 		vaux33_reg: regulator@11 { */
/* 			regulator-always-on; */
/* 		}; */

/* 		vmmc_reg: regulator@12 { */
/* 			regulator-min-microvolt = /\* von kurz uebernommen: *\/ <3300000> /\*original von am33xx_eval oder so aehnlich: <1800000>*\/; */
/* 			regulator-max-microvolt = <3300000>; */
/* 			regulator-always-on; */
/* 		}; */
/* 	}; */
/* }; */

&mac {
	pinctrl-names = "default";
	pinctrl-0 = <&cpsw_default>;
	slaves = <1>;
	status = "okay";
};

&davinci_mdio {
	pinctrl-names = "default";
	pinctrl-0 = <&davinci_mdio_default>;
	status = "okay";
};

&cpsw_emac0 {
	phy_id = <&davinci_mdio>, <1>;
	phy-mode = "mii";
};

/* &tscadc { */
/* 	status = "okay"; */
/* 	tsc { */
/* 		ti,wires = <4>; */
/* 		ti,x-plate-resistance = <200>; */
/* 		ti,coordinate-readouts = <5>; */
/* 		ti,wire-config = <0x00 0x11 0x22 0x33>; */
/* 		ti,charge-delay = <0x400>; */
/* 	}; */

/* 	adc { */
/* 		ti,adc-channels = <4 5 6 7>; */
/* 	}; */
/* }; */
/* #endif */

/* #if 0 */
/* &sham { */
/* 	status = "okay"; */
/* }; */

/* &aes { */
/* 	status = "okay"; */
/* }; */

/* &dcan1 { */
/* 	status = "disabled";	/\* Enable only if Profile 1 is selected *\/ */
/* 	pinctrl-names = "default"; */
/* 	pinctrl-0 = <&dcan1_pins_default>; */
/* }; */

/* &rtc { */
/* 	clocks = <&clk_32768_ck>, <&l4_per_clkctrl AM3_CLKDIV32K_CLKCTRL 0>; */
/* 	clock-names = "ext-clk", "int-clk"; */
/* }; */

/* #endif */

